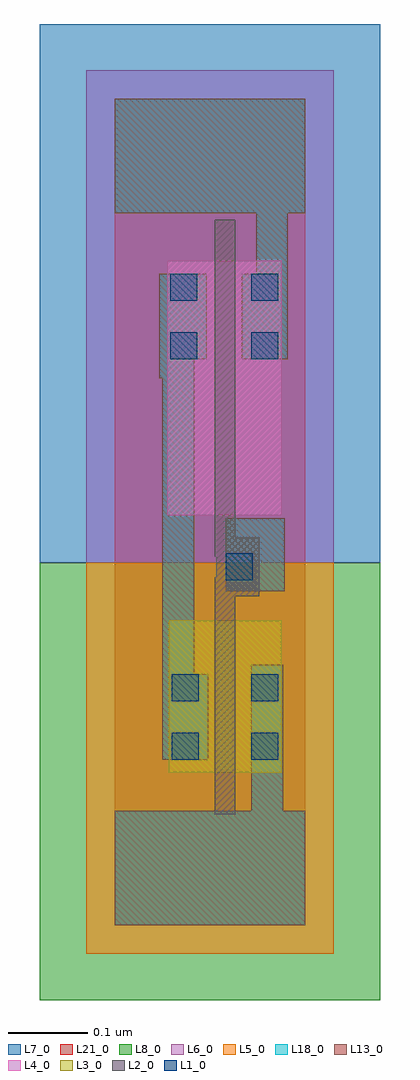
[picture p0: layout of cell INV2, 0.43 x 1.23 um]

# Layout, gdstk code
import gdstk
lib = gdstk.Library(unit=1e-6, precision=1e-09)
def R(c, l, rs):  # rectangles x0, y0, x1, y1
    for r in rs: c.add(gdstk.rectangle(r[:2], r[2:], *l))
L1_0 = (1, 0)
L2_0 = (2, 0)
L3_0 = (3, 0)
L4_0 = (4, 0)
L5_0 = (5, 0)
L6_0 = (6, 0)
L7_0 = (7, 0)
L8_0 = (8, 0)
L13_0 = (13, 0)
L18_0 = (18, 0)
L21_0 = (21, 0)

inv2 = lib.new_cell('INV2')
R(inv2, L1_0, [(0.072,0.208,0.106,0.242), (0.172,0.208,0.206,0.242), (0.072,0.282,0.106,0.316), (0.172,0.282,0.206,0.316), (0.14,0.434,0.174,0.468), (0.07,0.712,0.104,0.746), (0.172,0.712,0.206,0.746), (0.07,0.786,0.104,0.82), (0.172,0.786,0.206,0.82)])
R(inv2, L2_0, [(0.126,0.14,0.152,0.438), (0.128,0.414,0.152,0.438), (0.128,0.414,0.182,0.488), (0.126,0.464,0.152,0.888), (0.128,0.464,0.152,0.488), (0.128,0.464,0.152,0.488), (0.128,0.464,0.152,0.488)])
R(inv2, L3_0, [(0.068,0.192,0.11,0.384), (0.068,0.192,0.21,0.384), (0.168,0.192,0.21,0.384)])
R(inv2, L4_0, [(0.066,0.516,0.108,0.836), (0.066,0.516,0.21,0.836), (0.168,0.516,0.21,0.836)])
R(inv2, L5_0, [(-0.036,-0.036,0.276,0.456)])
R(inv2, L6_0, [(-0.036,0.456,0.276,1.076)])
R(inv2, L7_0, [(-0.094,0.456,0.334,1.134)])
R(inv2, L8_0, [(-0.094,-0.094,0.334,0.456)])
R(inv2, L13_0, [(0,0,0.24,0.144), (0.172,0.104,0.212,0.236), (0.172,0.104,0.212,0.144), (0.172,0.104,0.212,0.144), (0.172,0.196,0.212,0.328), (0.06,0.208,0.118,0.316), (0.06,0.276,0.1,0.728), (0.14,0.42,0.214,0.512), (0.056,0.688,0.1,0.752), (0.056,0.712,0.096,0.752), (0.056,0.712,0.096,0.752), (0.056,0.712,0.096,0.752), (0.056,0.712,0.116,0.82), (0.16,0.712,0.218,0.82), (0.178,0.78,0.218,0.936), (0,0.896,0.24,1.04)])
R(inv2, L18_0, [(0,0,0.24,0.144), (0.172,0.104,0.212,0.144), (0.172,0.104,0.212,0.144), (0.172,0.104,0.212,0.236), (0.172,0.196,0.212,0.328), (0.06,0.208,0.118,0.316), (0.06,0.276,0.1,0.728), (0.14,0.42,0.214,0.512), (0.14,0.46,0.18,0.5), (0.056,0.688,0.1,0.752), (0.06,0.7,0.1,0.74), (0.056,0.712,0.096,0.752), (0.056,0.712,0.096,0.752), (0.056,0.712,0.096,0.752), (0.056,0.712,0.116,0.82), (0.16,0.712,0.218,0.82), (0.178,0.78,0.218,0.936), (0,0.896,0.24,1.04)])
R(inv2, L21_0, [(0,0,0.24,1.04)])

lib.write_gds('INV2.gds')
